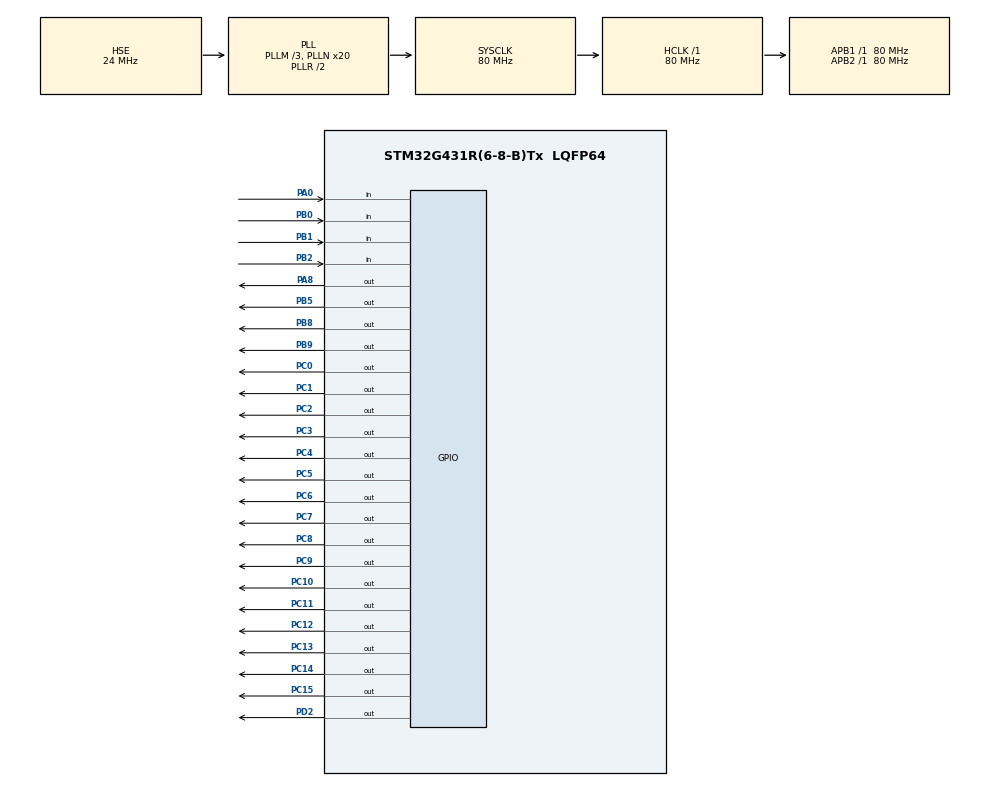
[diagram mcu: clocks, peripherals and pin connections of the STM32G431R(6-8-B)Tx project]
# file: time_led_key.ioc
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Mcu.Family=STM32G4
Mcu.Name=STM32G431R(6-8-B)Tx
Mcu.Package=LQFP64
NVIC.PriorityGroup=NVIC_PRIORITYGROUP_4
NVIC.TIM2_IRQn=true\:0\:0\:false\:false\:true\:true\:true\:true
PA0.GPIO_PuPd=GPIO_PULLUP
PA0.Signal=GPIO_Input
PA8.Signal=GPIO_Output
PB0.GPIO_PuPd=GPIO_PULLUP
PB0.Signal=GPIO_Input
PB1.GPIO_PuPd=GPIO_PULLUP
PB1.Signal=GPIO_Input
PB2.GPIO_PuPd=GPIO_PULLUP
PB2.Signal=GPIO_Input
PB5.Signal=GPIO_Output
PB8-BOOT0.Signal=GPIO_Output
PB9.Signal=GPIO_Output
PC0.Signal=GPIO_Output
PC1.Signal=GPIO_Output
PC10.PinState=GPIO_PIN_SET
PC10.Signal=GPIO_Output
PC11.PinState=GPIO_PIN_SET
PC11.Signal=GPIO_Output
PC12.PinState=GPIO_PIN_SET
PC12.Signal=GPIO_Output
PC13.PinState=GPIO_PIN_SET
PC13.Signal=GPIO_Output
PC14-OSC32_IN.PinState=GPIO_PIN_SET
PC14-OSC32_IN.Signal=GPIO_Output
PC15-OSC32_OUT.PinState=GPIO_PIN_SET
PC15-OSC32_OUT.Signal=GPIO_Output
PC2.Signal=GPIO_Output
PC3.Signal=GPIO_Output
PC4.Signal=GPIO_Output
PC5.Signal=GPIO_Output
PC6.Signal=GPIO_Output
PC7.Signal=GPIO_Output
PC8.PinState=GPIO_PIN_SET
PC8.Signal=GPIO_Output
PC9.PinState=GPIO_PIN_SET
PC9.Signal=GPIO_Output
PD2.Signal=GPIO_Output
PF0-OSC_IN.Mode=HSE-External-Oscillator
PF0-OSC_IN.Signal=RCC_OSC_IN
PF1-OSC_OUT.Mode=HSE-External-Oscillator
PF1-OSC_OUT.Signal=RCC_OSC_OUT
ProjectManager.HeapSize=0x200
ProjectManager.StackSize=0x400
ProjectManager.TargetToolchain=MDK-ARM V5.32
RCC.ADC12Freq_Value=80000000
RCC.AHBFreq_Value=80000000
RCC.APB1Freq_Value=80000000
RCC.APB1TimFreq_Value=80000000
RCC.APB2Freq_Value=80000000
RCC.APB2TimFreq_Value=80000000
RCC.CortexFreq_Value=80000000
RCC.EXTERNAL_CLOCK_VALUE=12288000
RCC.HCLKFreq_Value=80000000
RCC.HSE_VALUE=24000000
RCC.HSI48_VALUE=48000000
RCC.HSI_VALUE=16000000
RCC.LSE_VALUE=32768
RCC.PLLM=RCC_PLLM_DIV3
RCC.PLLN=20
RCC.PLLSourceVirtual=RCC_PLLSOURCE_HSE
RCC.SYSCLKFreq_VALUE=80000000
RCC.SYSCLKSource=RCC_SYSCLKSOURCE_PLLCLK
RCC.USBFreq_Value=80000000
RCC.VCOOutputFreq_Value=160000000
TIM2.PeriodNoDither=10000-1
TIM2.Prescaler=80-1
VP_SYS_VS_DBSignals.Mode=DisableDeadBatterySignals
VP_TIM2_VS_ClockSourceINT.Mode=Internal
board=custom

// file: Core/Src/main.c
/* USER CODE BEGIN Header */
/**
  ******************************************************************************
  * @file           : main.c
  * @brief          : Main program body
  ******************************************************************************
  * @attention
  *
  * Copyright (c) 2024 STMicroelectronics.
  * All rights reserved.
  *
  * This software is licensed under terms that can be found in the LICENSE file
  * in the root directory of this software component.
  * If no LICENSE file comes with this software, it is provided AS-IS.
  *
  ******************************************************************************
  */
/* USER CODE END Header */
#include "main.h"
#include "tim.h"
#include "gpio.h"

/* USER CODE BEGIN Includes */

#include "led.h"
#include "timer.h"
#include "lcd.h"
#include "stdio.h"

/* USER CODE END Includes */

void SystemClock_Config(void);
/* USER CODE BEGIN PFP */
void key_proc(void);

/* USER CODE END PFP */

int main(void)
{

  /* MCU Configuration--------------------------------------------------------*/

  /* Reset of all peripherals, Initializes the Flash interface and the Systick. */
  HAL_Init();

  /* Configure the system clock */
  SystemClock_Config();

  /* Initialize all configured peripherals */
  MX_GPIO_Init();
  MX_TIM2_Init();
  /* USER CODE BEGIN 2 */
    HAL_TIM_Base_Start_IT(&htim2);

    led_disp(0x00);
    LCD_Init();
    LCD_Clear(White);
    LCD_SetBackColor(White);
    LCD_SetTextColor(Blue2);
  /* USER CODE END 2 */

  /* Infinite loop */
  while (1)
  {

    /* USER CODE BEGIN 3 */
      key_proc();
  }
  /* USER CODE END 3 */
}

void SystemClock_Config(void)
{
  RCC_OscInitTypeDef RCC_OscInitStruct = {0};
  RCC_ClkInitTypeDef RCC_ClkInitStruct = {0};

  /** Configure the main internal regulator output voltage
  */
  HAL_PWREx_ControlVoltageScaling(PWR_REGULATOR_VOLTAGE_SCALE1);

  /** Initializes the RCC Oscillators according to the specified parameters
  * in the RCC_OscInitTypeDef structure.
  */
  RCC_OscInitStruct.OscillatorType = RCC_OSCILLATORTYPE_HSE;
  RCC_OscInitStruct.HSEState = RCC_HSE_ON;
  RCC_OscInitStruct.PLL.PLLState = RCC_PLL_ON;
  RCC_OscInitStruct.PLL.PLLSource = RCC_PLLSOURCE_HSE;
  RCC_OscInitStruct.PLL.PLLM = RCC_PLLM_DIV3;
  RCC_OscInitStruct.PLL.PLLN = 20;
  RCC_OscInitStruct.PLL.PLLP = RCC_PLLP_DIV2;
  RCC_OscInitStruct.PLL.PLLQ = RCC_PLLQ_DIV2;
  RCC_OscInitStruct.PLL.PLLR = RCC_PLLR_DIV2;
  if (HAL_RCC_OscConfig(&RCC_OscInitStruct) != HAL_OK)
  {
    Error_Handler();
  }

  /** Initializes the CPU, AHB and APB buses clocks
  */
  RCC_ClkInitStruct.ClockType = RCC_CLOCKTYPE_HCLK|RCC_CLOCKTYPE_SYSCLK
                              |RCC_CLOCKTYPE_PCLK1|RCC_CLOCKTYPE_PCLK2;
  RCC_ClkInitStruct.SYSCLKSource = RCC_SYSCLKSOURCE_PLLCLK;
  RCC_ClkInitStruct.AHBCLKDivider = RCC_SYSCLK_DIV1;
  RCC_ClkInitStruct.APB1CLKDivider = RCC_HCLK_DIV1;
  RCC_ClkInitStruct.APB2CLKDivider = RCC_HCLK_DIV1;

  if (HAL_RCC_ClockConfig(&RCC_ClkInitStruct, FLASH_LATENCY_2) != HAL_OK)
  {
    Error_Handler();
  }
}

/* USER CODE BEGIN 4 */

void key_proc(void)
{
    unsigned char txt[30];
    if(key[0].single_flag==1)
    {
      //led_disp(0x01);
     // HAL_Delay(500);//延时500ms
     // led_disp(0x00);
     // HAL_Delay(500);//延时500ms
        led_disp(0xaa);
        sprintf((char *)txt,"%s","key0down");
        LCD_DisplayStringLine(Line7,txt);
        key[0].single_flag =0;
    }
}

/* USER CODE END 4 */

void Error_Handler(void)
{
  __disable_irq();
  while (1)
  {
  }
}
